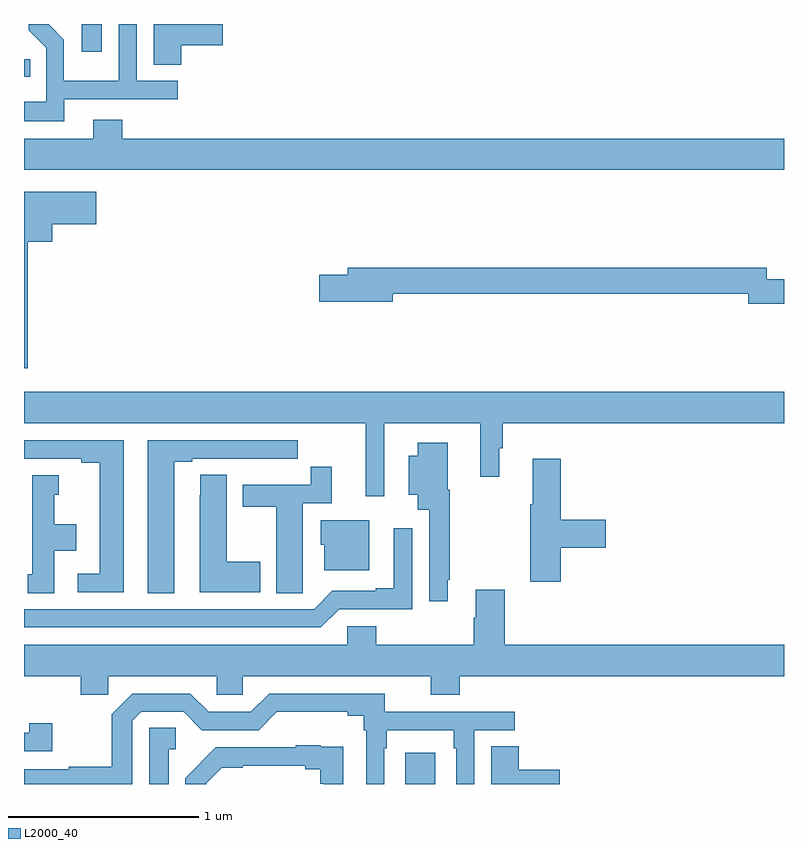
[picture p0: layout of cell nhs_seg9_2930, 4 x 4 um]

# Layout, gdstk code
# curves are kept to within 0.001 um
import gdstk
lib = gdstk.Library(unit=1e-6, precision=1e-09)
def R(c, l, rs):  # rectangles x0, y0, x1, y1
    for r in rs: c.add(gdstk.rectangle(r[:2], r[2:], *l))
def P(c, l, *ps):  # polygons
    for p in ps: c.add(gdstk.Polygon(p, *l))
L2000_40 = (2000, 40)

nhs_seg9_2930 = lib.new_cell('nhs_seg9_2930')
R(nhs_seg9_2930, L2000_40, [(281.006,1214.5,281.164,1214.665), (279,1218.223,279.032,1218.315), (279.305,1218.354,279.409,1218.5)])
P(nhs_seg9_2930, L2000_40, [(279.211,1218.105),(279.808,1218.105),(279.808,1218.201),(279.594,1218.201),(279.594,1218.5),(279.498,1218.5),(279.498,1218.202),(279.21,1218.202),(279.21,1218.418),(279.129,1218.5),(279.024,1218.5),(279.024,1218.468),(279.117,1218.375),(279.117,1218.091),(279,1218.091),(279,1217.987),(279.211,1217.987)],
  [(279.827,1218.389),(280.045,1218.389),(280.045,1218.5),(279.683,1218.5),(279.683,1218.286),(279.827,1218.286)],
  [(283,1217.896),(279.518,1217.896),(279.518,1217.995),(279.365,1217.995),(279.365,1217.896),(279,1217.896),(279,1217.732),(283,1217.732)],
  [(279.019,1217.354),(279.148,1217.354),(279.148,1217.447),(279.379,1217.447),(279.379,1217.617),(279,1217.617),(279,1216.689),(279.019,1216.689)],
  [(283,1217.156),(282.909,1217.156),(282.909,1217.216),(280.703,1217.216),(280.703,1217.18),(280.554,1217.18),(280.554,1217.038),(280.942,1217.038),(280.942,1217.08),(282.813,1217.08),(282.813,1217.028),(283,1217.028)],
  [(280.896,1216.4),(281.402,1216.4),(281.402,1216.116),(281.5,1216.116),(281.5,1216.266),(281.519,1216.266),(281.519,1216.4),(283,1216.4),(283,1216.564),(279,1216.564),(279,1216.4),(280.799,1216.4),(280.799,1216.014),(280.896,1216.014)],
  [(279.79,1216.197),(279.886,1216.197),(279.886,1216.212),(280.162,1216.212),(280.162,1216.211),(280.328,1216.211),(280.328,1216.212),(280.441,1216.212),(280.441,1216.308),(279.65,1216.308),(279.65,1215.505),(279.79,1215.505)],
  [(279.526,1216.308),(279,1216.308),(279,1216.212),(279.302,1216.212),(279.302,1216.192),(279.398,1216.192),(279.398,1215.606),(279.282,1215.606),(279.282,1215.51),(279.526,1215.51)],
  [(281.23,1215.574),(281.242,1215.574),(281.242,1216.048),(281.23,1216.048),(281.23,1216.297),(281.072,1216.297),(281.072,1216.228),(281.024,1216.228),(281.024,1216.022),(281.072,1216.022),(281.072,1215.944),(281.133,1215.944),(281.133,1215.462),(281.23,1215.462)],
  [(281.825,1215.743),(282.061,1215.743),(282.061,1215.89),(281.825,1215.89),(281.825,1216.213),(281.678,1216.213),(281.678,1215.973),(281.665,1215.973),(281.665,1215.564),(281.825,1215.564)],
  [(280.467,1215.616),(280.468,1215.616),(280.468,1215.978),(280.619,1215.978),(280.619,1216.171),(280.51,1216.171),(280.51,1216.074),(280.151,1216.074),(280.151,1215.958),(280.328,1215.958),(280.328,1215.505),(280.467,1215.505)],
  [(280.243,1215.669),(280.066,1215.669),(280.066,1216.127),(279.927,1216.127),(279.927,1216.019),(279.926,1216.019),(279.926,1215.509),(280.243,1215.509)],
  [(279.16,1215.728),(279.274,1215.728),(279.274,1215.868),(279.16,1215.868),(279.16,1216.023),(279.184,1216.023),(279.184,1216.126),(279.044,1216.126),(279.044,1215.603),(279.02,1215.603),(279.02,1215.505),(279.16,1215.505)],
  [(280.816,1215.889),(280.562,1215.889),(280.562,1215.759),(280.58,1215.759),(280.58,1215.626),(280.816,1215.626)],
  [(280.659,1215.42),(281.043,1215.42),(281.043,1215.847),(280.946,1215.847),(280.946,1215.529),(280.85,1215.529),(280.85,1215.516),(280.623,1215.516),(280.527,1215.42),(279,1215.42),(279,1215.324),(280.563,1215.324)],
  [(281.294,1215.068),(283,1215.068),(283,1215.232),(281.531,1215.232),(281.531,1215.523),(281.378,1215.523),(281.378,1215.374),(281.366,1215.374),(281.366,1215.232),(280.853,1215.232),(280.853,1215.33),(280.701,1215.33),(280.701,1215.232),(279,1215.232),(279,1215.068),(279.298,1215.068),(279.298,1214.97),(279.443,1214.97),(279.443,1215.068),(280.014,1215.068),(280.014,1214.97),(280.152,1214.97),(280.152,1215.068),(281.141,1215.068),(281.141,1214.969),(281.294,1214.969)],
  [(279.57,1214.832),(279.618,1214.88),(279.84,1214.88),(279.936,1214.784),(280.236,1214.784),(280.331,1214.879),(280.703,1214.879),(280.703,1214.86),(280.788,1214.86),(280.788,1214.783),(280.8,1214.783),(280.8,1214.5),(280.896,1214.5),(280.896,1214.687),(280.909,1214.687),(280.909,1214.784),(281.262,1214.784),(281.262,1214.687),(281.274,1214.687),(281.274,1214.5),(281.37,1214.5),(281.37,1214.784),(281.584,1214.784),(281.584,1214.88),(280.899,1214.88),(280.899,1214.976),(280.29,1214.976),(280.194,1214.88),(279.972,1214.88),(279.876,1214.976),(279.57,1214.976),(279.462,1214.867),(279.462,1214.59),(279.235,1214.59),(279.235,1214.577),(279,1214.577),(279,1214.5),(279.57,1214.5)],
  [(279.148,1214.821),(279.027,1214.821),(279.027,1214.769),(279,1214.769),(279,1214.673),(279.148,1214.673)],
  [(279.763,1214.684),(279.798,1214.684),(279.798,1214.795),(279.66,1214.795),(279.66,1214.687),(279.659,1214.687),(279.659,1214.5),(279.763,1214.5)],
  [(279.958,1214.503),(280.041,1214.586),(280.15,1214.586),(280.15,1214.597),(280.481,1214.597),(280.481,1214.578),(280.56,1214.578),(280.56,1214.501),(280.681,1214.5),(280.681,1214.696),(280.563,1214.696),(280.563,1214.704),(280.431,1214.704),(280.431,1214.694),(280.01,1214.694),(279.931,1214.615),(279.932,1214.614),(279.848,1214.531),(279.848,1214.5),(279.958,1214.5)],
  [(281.821,1214.576),(281.603,1214.576),(281.603,1214.699),(281.459,1214.699),(281.459,1214.5),(281.821,1214.5)])

lib.write_gds('nhs_seg9_2930.gds')
